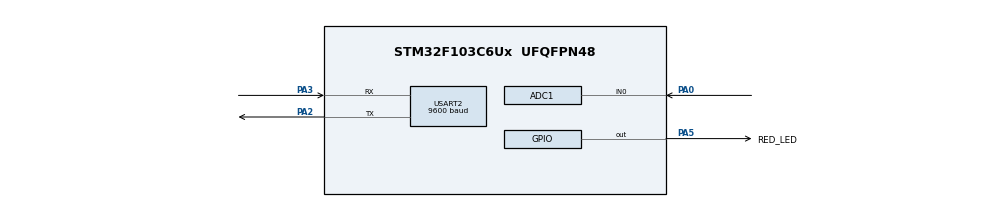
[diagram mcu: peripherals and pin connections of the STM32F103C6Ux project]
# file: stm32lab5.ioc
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ADC1.Channel-0\#ChannelRegularConversion=ADC_CHANNEL_0
ADC1.ContinuousConvMode=ENABLE
ADC1.NbrOfConversionFlag=1
ADC1.Rank-0\#ChannelRegularConversion=1
ADC1.SamplingTime-0\#ChannelRegularConversion=ADC_SAMPLETIME_1CYCLE_5
ADC1.master=1
Mcu.Family=STM32F1
Mcu.Name=STM32F103C6Ux
Mcu.Package=UFQFPN48
NVIC.PriorityGroup=NVIC_PRIORITYGROUP_4
NVIC.TIM2_IRQn=true\:0\:0\:false\:false\:true\:true\:true
NVIC.USART2_IRQn=true\:0\:0\:false\:false\:true\:true\:true
PA0-WKUP.Signal=ADCx_IN0
PA2.Mode=Asynchronous
PA2.Signal=USART2_TX
PA3.Mode=Asynchronous
PA3.Signal=USART2_RX
PA5.GPIO_Label=RED_LED
PA5.Signal=GPIO_Output
ProjectManager.HeapSize=0x200
ProjectManager.StackSize=0x400
ProjectManager.TargetToolchain=STM32CubeIDE
RCC.APB1Freq_Value=8000000
RCC.APB2Freq_Value=8000000
SH.ADCx_IN0.0=ADC1_IN0,IN0
TIM2.Period=9
TIM2.Prescaler=7999
USART2.BaudRate=9600
USART2.VirtualMode=VM_ASYNC
VP_SYS_VS_ND.Mode=No_Debug
VP_TIM2_VS_ClockSourceINT.Mode=Internal
board=custom

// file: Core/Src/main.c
/* USER CODE BEGIN Header */
/**
  ******************************************************************************
  * @file           : main.c
  * @brief          : Main program body
  ******************************************************************************
  * @attention
  *
  * <h2><center>&copy; Copyright (c) 2025 STMicroelectronics.
  * All rights reserved.</center></h2>
  *
  * This software component is licensed by ST under BSD 3-Clause license,
  * the "License"; You may not use this file except in compliance with the
  * License. You may obtain a copy of the License at:
  *                        opensource.org/licenses/BSD-3-Clause
  *
  ******************************************************************************
  */
/* USER CODE END Header */
#include "main.h"
#include "sortware_timer.h"
#include <stdio.h>
#include <stdint.h>
#include <string.h>

ADC_HandleTypeDef hadc1;

TIM_HandleTypeDef htim2;

UART_HandleTypeDef huart2;

/* USER CODE BEGIN PV */
#define MAX_BUFFER_SIZE 30
#define CMD_NONE 0
#define CMD_RST  1
#define CMD_OK   2
#define TIMEOUT_TIMER 4

uint8_t command_flag = CMD_NONE;
 uint8_t temp = 0;
 uint8_t buffer[MAX_BUFFER_SIZE];
 uint8_t index_buffer = 0;
 uint8_t buffer_flag = 0;

 uint32_t adc_value = 0;
 char uart_payload[20]; //!ADC=xxxx#

 typedef enum {  //parser
     WAIT_START,
     READING_CMD,
     WAIT_END
 } ParserState;
 typedef enum { //uart
     UART_IDLE,
     UART_SEND_DATA,
     UART_WAIT_OK,
     UART_TIMEOUT
 } UART_State;

 ParserState parser_state = WAIT_START;
 UART_State uart_state = UART_IDLE;
 char cmd_string[10];   // chứa chuỗi lệnh nhận được
 uint8_t cmd_index = 0;

/* USER CODE END PV */

void SystemClock_Config(void);
static void MX_GPIO_Init(void);
static void MX_ADC1_Init(void);
static void MX_USART2_UART_Init(void);
static void MX_TIM2_Init(void);

/* USER CODE BEGIN 0 */

void HAL_UART_RxCpltCallback(UART_HandleTypeDef *huart){
  if(huart->Instance == USART2){
	  HAL_UART_Transmit(&huart2, &temp, 1, 50);
	  buffer[index_buffer++] = temp;
	  if(index_buffer == 30) index_buffer = 0;
	  buffer_flag = 1;
	  HAL_UART_Receive_IT(&huart2, &temp, 1);
  }
 }

void  command_parser_fsm();

void uart_communiation_fsm();
/* USER CODE END 0 */

int main(void)
{

  /* MCU Configuration--------------------------------------------------------*/

  /* Reset of all peripherals, Initializes the Flash interface and the Systick. */
  HAL_Init();

  /* Configure the system clock */
  SystemClock_Config();

  /* Initialize all configured peripherals */
  MX_GPIO_Init();
  MX_ADC1_Init();
  MX_USART2_UART_Init();
  MX_TIM2_Init();
  /* USER CODE BEGIN 2 */
  HAL_UART_Receive_IT(&huart2, &temp, 1);
  HAL_ADC_Start(&hadc1);
  /* USER CODE END 2 */
  HAL_TIM_Base_Start_IT(&htim2);
  /* Infinite loop */
  while (1)
  {
	  if(buffer_flag == 1){
	  command_parser_fsm();
	  buffer_flag = 0;
	  }
	  uart_communiation_fsm();

  }
}

void SystemClock_Config(void)
{
  RCC_OscInitTypeDef RCC_OscInitStruct = {0};
  RCC_ClkInitTypeDef RCC_ClkInitStruct = {0};
  RCC_PeriphCLKInitTypeDef PeriphClkInit = {0};

  /** Initializes the RCC Oscillators according to the specified parameters
  * in the RCC_OscInitTypeDef structure.
  */
  RCC_OscInitStruct.OscillatorType = RCC_OSCILLATORTYPE_HSI;
  RCC_OscInitStruct.HSIState = RCC_HSI_ON;
  RCC_OscInitStruct.HSICalibrationValue = RCC_HSICALIBRATION_DEFAULT;
  RCC_OscInitStruct.PLL.PLLState = RCC_PLL_NONE;
  if (HAL_RCC_OscConfig(&RCC_OscInitStruct) != HAL_OK)
  {
    Error_Handler();
  }
  /** Initializes the CPU, AHB and APB buses clocks
  */
  RCC_ClkInitStruct.ClockType = RCC_CLOCKTYPE_HCLK|RCC_CLOCKTYPE_SYSCLK
                              |RCC_CLOCKTYPE_PCLK1|RCC_CLOCKTYPE_PCLK2;
  RCC_ClkInitStruct.SYSCLKSource = RCC_SYSCLKSOURCE_HSI;
  RCC_ClkInitStruct.AHBCLKDivider = RCC_SYSCLK_DIV1;
  RCC_ClkInitStruct.APB1CLKDivider = RCC_HCLK_DIV1;
  RCC_ClkInitStruct.APB2CLKDivider = RCC_HCLK_DIV1;

  if (HAL_RCC_ClockConfig(&RCC_ClkInitStruct, FLASH_LATENCY_0) != HAL_OK)
  {
    Error_Handler();
  }
  PeriphClkInit.PeriphClockSelection = RCC_PERIPHCLK_ADC;
  PeriphClkInit.AdcClockSelection = RCC_ADCPCLK2_DIV2;
  if (HAL_RCCEx_PeriphCLKConfig(&PeriphClkInit) != HAL_OK)
  {
    Error_Handler();
  }
}

static void MX_ADC1_Init(void)
{

  ADC_ChannelConfTypeDef sConfig = {0};

  /** Common config
  */
  hadc1.Instance = ADC1;
  hadc1.Init.ScanConvMode = ADC_SCAN_DISABLE;
  hadc1.Init.ContinuousConvMode = ENABLE;
  hadc1.Init.DiscontinuousConvMode = DISABLE;
  hadc1.Init.ExternalTrigConv = ADC_SOFTWARE_START;
  hadc1.Init.DataAlign = ADC_DATAALIGN_RIGHT;
  hadc1.Init.NbrOfConversion = 1;
  if (HAL_ADC_Init(&hadc1) != HAL_OK)
  {
    Error_Handler();
  }
  /** Configure Regular Channel
  */
  sConfig.Channel = ADC_CHANNEL_0;
  sConfig.Rank = ADC_REGULAR_RANK_1;
  sConfig.SamplingTime = ADC_SAMPLETIME_1CYCLE_5;
  if (HAL_ADC_ConfigChannel(&hadc1, &sConfig) != HAL_OK)
  {
    Error_Handler();
  }

}

static void MX_TIM2_Init(void)
{

  TIM_ClockConfigTypeDef sClockSourceConfig = {0};
  TIM_MasterConfigTypeDef sMasterConfig = {0};

  htim2.Instance = TIM2;
  htim2.Init.Prescaler = 7999;
  htim2.Init.CounterMode = TIM_COUNTERMODE_UP;
  htim2.Init.Period = 9;
  htim2.Init.ClockDivision = TIM_CLOCKDIVISION_DIV1;
  htim2.Init.AutoReloadPreload = TIM_AUTORELOAD_PRELOAD_DISABLE;
  if (HAL_TIM_Base_Init(&htim2) != HAL_OK)
  {
    Error_Handler();
  }
  sClockSourceConfig.ClockSource = TIM_CLOCKSOURCE_INTERNAL;
  if (HAL_TIM_ConfigClockSource(&htim2, &sClockSourceConfig) != HAL_OK)
  {
    Error_Handler();
  }
  sMasterConfig.MasterOutputTrigger = TIM_TRGO_RESET;
  sMasterConfig.MasterSlaveMode = TIM_MASTERSLAVEMODE_DISABLE;
  if (HAL_TIMEx_MasterConfigSynchronization(&htim2, &sMasterConfig) != HAL_OK)
  {
    Error_Handler();
  }

}

static void MX_USART2_UART_Init(void)
{

  huart2.Instance = USART2;
  huart2.Init.BaudRate = 9600;
  huart2.Init.WordLength = UART_WORDLENGTH_8B;
  huart2.Init.StopBits = UART_STOPBITS_1;
  huart2.Init.Parity = UART_PARITY_NONE;
  huart2.Init.Mode = UART_MODE_TX_RX;
  huart2.Init.HwFlowCtl = UART_HWCONTROL_NONE;
  huart2.Init.OverSampling = UART_OVERSAMPLING_16;
  if (HAL_UART_Init(&huart2) != HAL_OK)
  {
    Error_Handler();
  }

}

static void MX_GPIO_Init(void)
{
  GPIO_InitTypeDef GPIO_InitStruct = {0};

  /* GPIO Ports Clock Enable */
  __HAL_RCC_GPIOA_CLK_ENABLE();

  /*Configure GPIO pin Output Level */
  HAL_GPIO_WritePin(RED_LED_GPIO_Port, RED_LED_Pin, GPIO_PIN_RESET);

  /*Configure GPIO pin : RED_LED_Pin */
  GPIO_InitStruct.Pin = RED_LED_Pin;
  GPIO_InitStruct.Mode = GPIO_MODE_OUTPUT_PP;
  GPIO_InitStruct.Pull = GPIO_NOPULL;
  GPIO_InitStruct.Speed = GPIO_SPEED_FREQ_LOW;
  HAL_GPIO_Init(RED_LED_GPIO_Port, &GPIO_InitStruct);

}
void  command_parser_fsm(){
	uint8_t c = buffer[index_buffer-1];

	  switch(parser_state){

	    case WAIT_START:
	        if (c == '!') {
	            cmd_index = 0;
	            memset(cmd_string, 0, sizeof(cmd_string));
	            parser_state = READING_CMD;
	        }
	        break;

	    case READING_CMD:
	        if (c == '#') {
	            if (strcmp(cmd_string, "RST") == 0) {
	                command_flag = CMD_RST;
	            }
	            else if (strcmp(cmd_string, "OK") == 0) {
	                command_flag = CMD_OK;
	            }
	            parser_state = WAIT_START;
	        }
	        else {
	            if (cmd_index < sizeof(cmd_string)-1) {
	                cmd_string[cmd_index++] = c;
	            }
	        }
	        break;

	    default:
	        parser_state = WAIT_START;
	        break;
	    }
}

void uart_communiation_fsm(){
	  switch (uart_state) {

	    case UART_IDLE:
	        if (command_flag == CMD_RST) {
	            command_flag = CMD_NONE;

	            // đọc ADC
	            adc_value = HAL_ADC_GetValue(&hadc1);
	            sprintf(uart_payload, "!ADC=%lu#", adc_value);  //unsigned long

	            uart_state = UART_SEND_DATA;
	        }
	        break;

	    case UART_SEND_DATA:
	        HAL_UART_Transmit(&huart2, (uint8_t*)uart_payload, strlen(uart_payload), 100);
	        setTimer(TIMEOUT_TIMER, 3000);

	        uart_state = UART_WAIT_OK;
	        break;

	    case UART_WAIT_OK:
	        if (command_flag == CMD_OK) {
	            command_flag = CMD_NONE;
	            uart_state = UART_IDLE;
	        }
	        else if (co(TIMEOUT_TIMER)) {   // timeout
	            uart_state = UART_TIMEOUT;
	        }
	        break;

	    case UART_TIMEOUT:

	        HAL_UART_Transmit(&huart2, (uint8_t*)uart_payload, strlen(uart_payload), 100);

	        // đặt lại timer
	        setTimer(TIMEOUT_TIMER, 3000);

	        uart_state = UART_WAIT_OK;
	        break;
	    }
}
/* USER CODE BEGIN 4 */
void HAL_TIM_PeriodElapsedCallback(TIM_HandleTypeDef *htim) {
    if (htim->Instance == TIM2) {
        timerRun();
    }
}
/* USER CODE END 4 */

void Error_Handler(void)
{
  __disable_irq();
  while (1)
  {
  }
}

/************************ (C) COPYRIGHT STMicroelectronics *****END OF FILE****/
